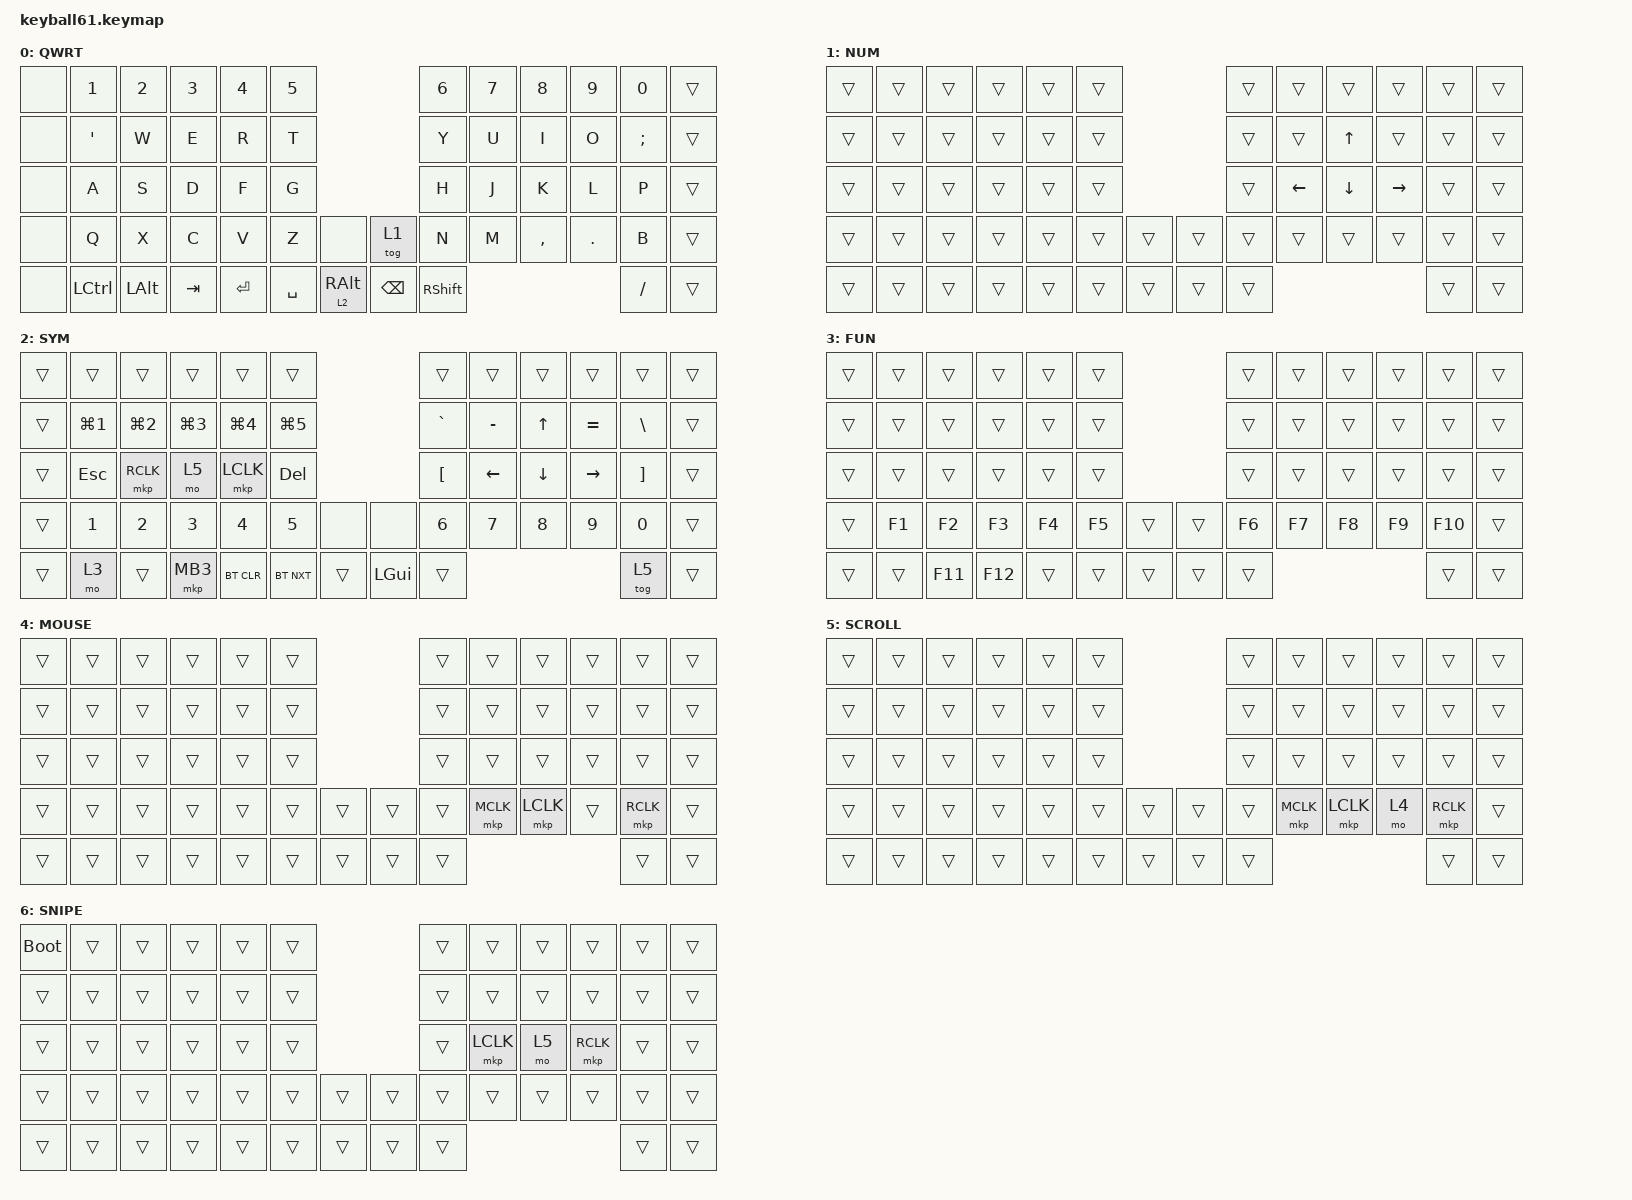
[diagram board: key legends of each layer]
#define DEFAULT 0
#define SYM     1
#define FUN     2
#define MOUSE   3
#define SCROLL  4
#define SNIPE   5

#include <behaviors/mouse_keys.dtsi>
#include <dt-bindings/zmk/mouse.h>
#include <behaviors.dtsi>
#include <dt-bindings/zmk/bt.h>
#include <dt-bindings/zmk/keys.h>

&nice_view_spi { cs-gpios = <&pro_micro 1 GPIO_ACTIVE_HIGH>; };

&lt {
    tapping-term-ms = <240>;
    flavor = "balanced";
    quick-tap-ms = <150>;
};

&mt {
    tapping-term-ms = <200>;
    flavor = "tap-preferred";
    quick-tap-ms = <150>;
};

&soft_off { split-peripheral-off-on-press; };

/ {
    combos {
        compatible = "zmk,combos";

        right-reset {
            bindings = <&bootloader>;
            key-positions = <51 59>;
        };
    };

    keymap {
        compatible = "zmk,keymap";

        default_layer {
            label = "QWRT";
            bindings = <
&none  &kp N1     &kp N2        &kp N3   &kp N4     &kp N5                                     &kp N6           &kp N7  &kp N8     &kp N9   &kp N0         &trans
&none  &kp SQT    &kp W         &kp E    &kp R      &kp T                                      &kp Y            &kp U   &kp I      &kp O    &kp SEMICOLON  &trans
&none  &kp A      &kp S         &kp D    &kp F      &kp G                                      &kp H            &kp J   &kp K      &kp L    &kp P          &trans
&none  &kp Q      &kp X         &kp C    &kp V      &kp Z      &none            &tog 1         &kp N            &kp M   &kp COMMA  &kp DOT  &kp B          &trans
&none  &kp LCTRL  &kp LEFT_ALT  &kp TAB  &kp ENTER  &kp SPACE  &lt 2 RIGHT_ALT  &kp BACKSPACE  &kp RIGHT_SHIFT                              &kp SLASH      &trans
            >;
        };

        number_layer {
            bindings = <
&trans  &trans  &trans  &trans  &trans  &trans                  &trans  &trans          &trans    &trans     &trans  &trans
&trans  &trans  &trans  &trans  &trans  &trans                  &trans  &trans          &kp UP    &trans     &trans  &trans
&trans  &trans  &trans  &trans  &trans  &trans                  &trans  &kp LEFT_ARROW  &kp DOWN  &kp RIGHT  &trans  &trans
&trans  &trans  &trans  &trans  &trans  &trans  &trans  &trans  &trans  &trans          &trans    &trans     &trans  &trans
&trans  &trans  &trans  &trans  &trans  &trans  &trans  &trans  &trans                                       &trans  &trans
            >;

            label = "NUM";
        };

        symbol_layer {
            label = "SYM";
            bindings = <
&trans  &trans            &trans            &trans            &trans            &trans                            &trans            &trans     &trans        &trans     &trans             &trans
&trans  &kp LG(NUMBER_1)  &kp LG(NUMBER_2)  &kp LG(NUMBER_3)  &kp LG(NUMBER_4)  &kp LG(N5)                        &kp GRAVE         &kp MINUS  &kp UP_ARROW  &kp EQUAL  &kp BACKSLASH      &trans
&trans  &kp ESCAPE        &mkp RCLK         &mo 5             &mkp LCLK         &kp DEL                           &kp LEFT_BRACKET  &kp LEFT   &kp DOWN      &kp RIGHT  &kp RIGHT_BRACKET  &trans
&trans  &kp NUMBER_1      &kp NUMBER_2      &kp NUMBER_3      &kp NUMBER_4      &kp N5      &none   &none         &kp NUMBER_6      &kp N7     &kp N8        &kp N9     &kp N0             &trans
&trans  &mo 3             &trans            &mkp MB3          &bt BT_CLR        &bt BT_NXT  &trans  &kp LEFT_GUI  &trans                                                &tog 5             &trans
            >;
        };

        function_layer {
            label = "FUN";
            bindings = <
&trans  &trans  &trans   &trans   &trans  &trans                  &trans  &trans  &trans  &trans  &trans   &trans
&trans  &trans  &trans   &trans   &trans  &trans                  &trans  &trans  &trans  &trans  &trans   &trans
&trans  &trans  &trans   &trans   &trans  &trans                  &trans  &trans  &trans  &trans  &trans   &trans
&trans  &kp F1  &kp F2   &kp F3   &kp F4  &kp F5  &trans  &trans  &kp F6  &kp F7  &kp F8  &kp F9  &kp F10  &trans
&trans  &trans  &kp F11  &kp F12  &trans  &trans  &trans  &trans  &trans                          &trans   &trans
            >;
        };

        mouse_layer {
            label = "MOUSE";
            bindings = <
&trans  &trans  &trans  &trans  &trans  &trans                  &trans  &trans     &trans     &trans  &trans     &trans
&trans  &trans  &trans  &trans  &trans  &trans                  &trans  &trans     &trans     &trans  &trans     &trans
&trans  &trans  &trans  &trans  &trans  &trans                  &trans  &trans     &trans     &trans  &trans     &trans
&trans  &trans  &trans  &trans  &trans  &trans  &trans  &trans  &trans  &mkp MCLK  &mkp LCLK  &trans  &mkp RCLK  &trans
&trans  &trans  &trans  &trans  &trans  &trans  &trans  &trans  &trans                                &trans     &trans
            >;
        };

        scroll_layer {
            label = "SCROLL";
            bindings = <
&trans  &trans  &trans  &trans  &trans  &trans                  &trans  &trans     &trans     &trans  &trans     &trans
&trans  &trans  &trans  &trans  &trans  &trans                  &trans  &trans     &trans     &trans  &trans     &trans
&trans  &trans  &trans  &trans  &trans  &trans                  &trans  &trans     &trans     &trans  &trans     &trans
&trans  &trans  &trans  &trans  &trans  &trans  &trans  &trans  &trans  &mkp MCLK  &mkp LCLK  &mo 4   &mkp RCLK  &trans
&trans  &trans  &trans  &trans  &trans  &trans  &trans  &trans  &trans                                &trans     &trans
            >;
        };

        snipe_layer {
            label = "SNIPE";
            bindings = <
&bootloader  &trans  &trans  &trans  &trans  &trans                  &trans  &trans     &trans  &trans     &trans  &trans
&trans       &trans  &trans  &trans  &trans  &trans                  &trans  &trans     &trans  &trans     &trans  &trans
&trans       &trans  &trans  &trans  &trans  &trans                  &trans  &mkp LCLK  &mo 5   &mkp RCLK  &trans  &trans
&trans       &trans  &trans  &trans  &trans  &trans  &trans  &trans  &trans  &trans     &trans  &trans     &trans  &trans
&trans       &trans  &trans  &trans  &trans  &trans  &trans  &trans  &trans                                &trans  &trans
            >;
        };
    };
};
